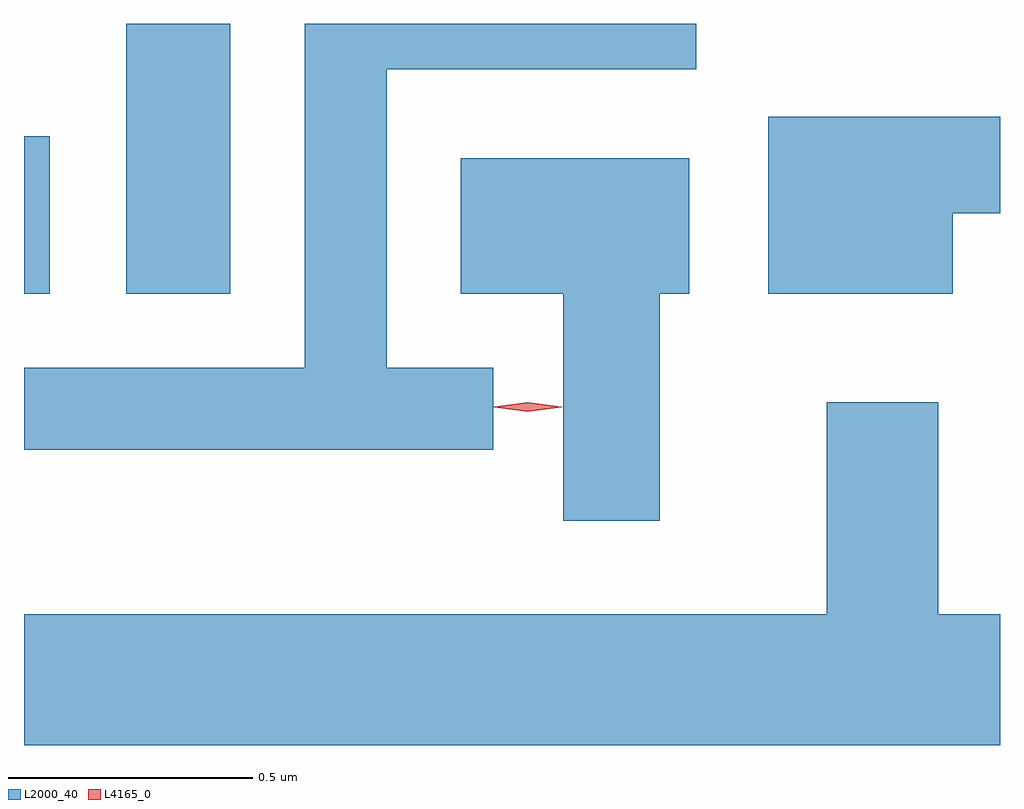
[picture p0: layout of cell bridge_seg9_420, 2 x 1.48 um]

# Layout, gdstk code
import gdstk
lib = gdstk.Library(unit=1e-6, precision=1e-09)
def R(c, l, rs):  # rectangles x0, y0, x1, y1
    for r in rs: c.add(gdstk.rectangle(r[:2], r[2:], *l))
def P(c, l, *ps):  # polygons
    for p in ps: c.add(gdstk.Polygon(p, *l))
L2000_40 = (2000, 40)
L4165_0 = (4165, 0)

bridge_seg9_420 = lib.new_cell('bridge_seg9_420')
R(bridge_seg9_420, L2000_40, [(623.926,2081.541,623.979,2081.864), (624.136,2081.541,624.349,2082.094)])
P(bridge_seg9_420, L2000_40, [(624.888,2081.389),(624.669,2081.389),(624.669,2082.001),(625.304,2082.001),(625.304,2082.094),(624.501,2082.094),(624.501,2081.389),(623.926,2081.389),(623.926,2081.221),(624.888,2081.221)],
  [(625.829,2081.706),(625.926,2081.706),(625.926,2081.904),(625.451,2081.904),(625.451,2081.541),(625.829,2081.541)],
  [(625.229,2081.541),(625.289,2081.541),(625.289,2081.819),(624.821,2081.819),(624.821,2081.541),(625.031,2081.541),(625.031,2081.076),(625.229,2081.076)],
  [(625.926,2080.884),(625.799,2080.884),(625.799,2081.319),(625.571,2081.319),(625.571,2080.884),(623.926,2080.884),(623.926,2080.616),(625.926,2080.616)])
P(bridge_seg9_420, L4165_0, [(624.958,2081.299),(624.889,2081.308),(624.889,2081.309),(624.889,2081.309),(624.958,2081.319),(625.028,2081.309),(625.028,2081.309),(625.028,2081.308)])

lib.write_gds('bridge_seg9_420.gds')
